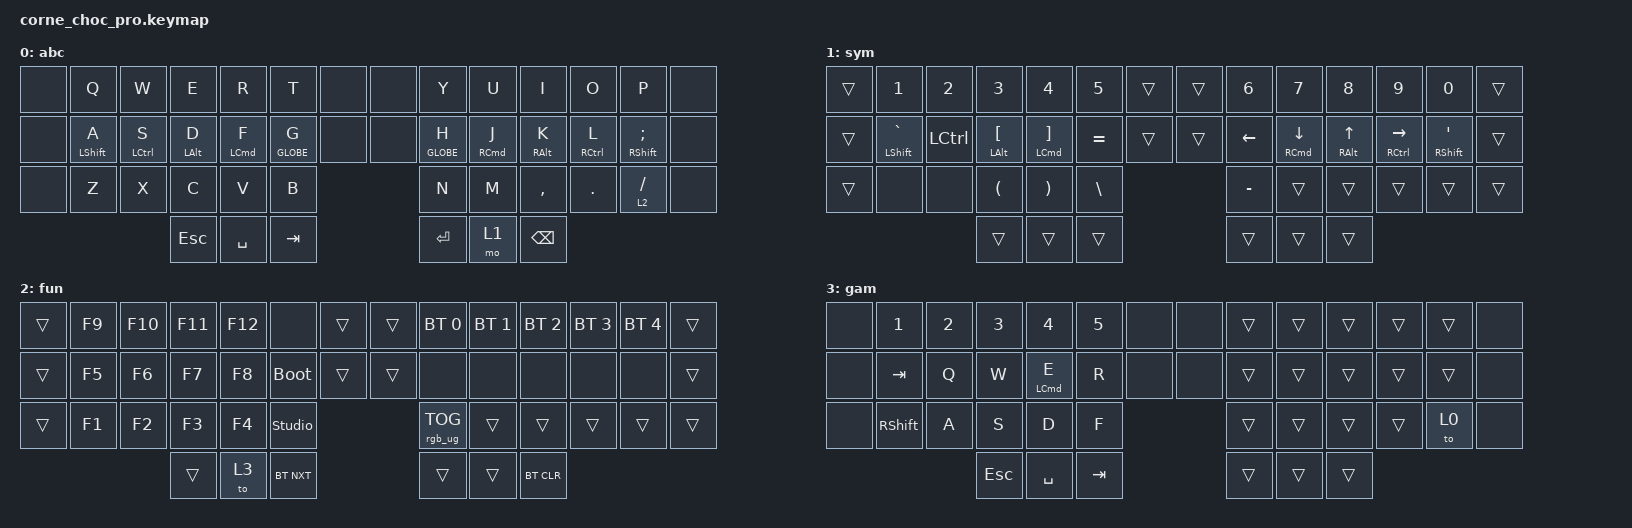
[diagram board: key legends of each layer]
/*
 * Copyright (c) 2020 The ZMK Contributors
 *
 * SPDX-License-Identifier: MIT
 */

/*
 * corne choc pro keymap — bdsqqq
 *
 * layout philosophy:
 * - homerow mods using urob's "timeless" approach to minimize misfires during fast typing
 * - layers accessed via thumbs (momentary) and pinky (hold-preferred for gaming layer)
 * - game layer customizes the left half while the right half inherits the base layer
 *
 * layer overview:
 *   0: base (abc)  — qwerty with homerow mods
 *   1: sym         — numbers, symbols, vim-style navigation with mods
 *   2: fun         — function keys, bluetooth, system controls
 *   3: game (gam)  — shifted WASD cluster, no homerow mods (except E for cmd+tab)
 */

#include <behaviors.dtsi>
#include <dt-bindings/zmk/bt.h>
#include <dt-bindings/zmk/keys.h>
#include <dt-bindings/zmk/rgb.h>

/ {
    chosen { zmk,physical-layout = &default_layout; };
};

/ {
    behaviors {
        /*
         * "timeless" homerow mods — based on urob's approach
         * https://github.com/urob/zmk-config?tab=readme-ov-file#timeless-homerow-mods
         *
         * the problem: homerow mods misfire during fast typing. if you type "as" quickly,
         * holding A (shift) while pressing S can produce "S" instead of "as".
         *
         * the solution combines three mechanisms:
         *   1. balanced flavor: releases tap on key-up OR when another key is pressed
         *   2. require-prior-idle-ms (150ms): ignores holds if you were recently typing
         *   3. positional hold-trigger: left mods only activate on RIGHT-hand key presses
         *
         * timing values (280ms tapping-term, 175ms quick-tap) are urob's defaults.
         * 150ms idle requirement is on the lower end — more aggressive anti-misfire.
         */

        // left-hand homerow mods: A=shift, S=ctrl, D=alt, F=cmd
        hml: home_row_mod_left {
            compatible = "zmk,behavior-hold-tap";
            label = "HOME_ROW_MOD_LEFT";
            #binding-cells = <2>;
            flavor = "balanced";
            tapping-term-ms = <280>;
            quick-tap-ms = <175>;
            require-prior-idle-ms = <150>;
            bindings = <&kp>, <&kp>;

            // only trigger hold when followed by right-hand keys or thumbs
            // indices: 8-12 (right top), 22-26 (right home), 34-38 (right bottom), 43-45 (right thumb)
            hold-trigger-key-positions = <8 9 10 11 12 22 23 24 25 26 34 35 36 37 38 43 44 45>;
            hold-trigger-on-release;
        };

        // right-hand homerow mods: J=cmd, K=alt, L=ctrl, ;=shift (mirrors left side)
        hmr: home_row_mod_right {
            compatible = "zmk,behavior-hold-tap";
            label = "HOME_ROW_MOD_RIGHT";
            #binding-cells = <2>;
            flavor = "balanced";
            tapping-term-ms = <280>;
            quick-tap-ms = <175>;
            require-prior-idle-ms = <150>;
            bindings = <&kp>, <&kp>;

            // only trigger hold when followed by left-hand keys or thumbs
            // indices: 1-5 (left top), 15-19 (left home), 29-33 (left bottom), 40-42 (left thumb)
            hold-trigger-key-positions = <1 2 3 4 5 15 16 17 18 19 29 30 31 32 33 40 41 42>;
            hold-trigger-on-release;
        };

        /*
         * hold-preferred layer-tap for accessing fun layer via /
         *
         * hold-preferred means: if ANY other key is pressed while holding, treat as hold.
         * this differs from balanced (waits to see if you release before the other key).
         *
         * used on / because:
         *   - / is rarely followed by another character in normal typing
         *   - quick access to fun layer (function keys, bluetooth) is more valuable
         *   - 200ms tapping-term is shorter than homerow mods — tapping / feels snappier
         */
        lt_hp: lt_hold_preferred {
            compatible = "zmk,behavior-hold-tap";
            label = "LT_HOLD_PREFERRED";
            #binding-cells = <2>;
            flavor = "hold-preferred";
            tapping-term-ms = <200>;
            bindings = <&mo>, <&kp>;
        };
    };

    keymap {
        compatible = "zmk,keymap";

        /*
         * layer 0: base (abc)
         *
         * standard qwerty with homerow mods on both sides.
         * outer columns (&none) are intentionally blank — corne layout doesn't use them.
         *
         * thumbs: ESC | SPACE | TAB ←→ RET | layer1 | BSPC
         *   - layer 1 (sym) via right thumb momentary
         *   - layer 2 (fun) via hold on / key (bottom right pinky)
         *
         * homerow mod positions (hold = modifier, tap = letter):
         *   left:  A=⇧  S=⌃  D=⌥  F=⌘
         *   right: J=⌘  K=⌥  L=⌃  ;=⇧
         */
        layer_base {
            display-name = "abc";

            // -----------------------------------------------------------------------------------------
            // |      |  Q  |  W  |  E  |  R  |  T  |      |      |  Y  |  U  |  I  |  O  |  P  |      |
            // |      | A/⇧ | S/⌃ | D/⌥ | F/⌘ | G/🌐 |      |      | H/🌐 | J/⌘ | K/⌥ | L/⌃ | ;/⇧ |      |
            // |      |  Z  |  X  |  C  |  V  |  B  |             |  N  |  M  |  ,  |  .  | //2 |      |
            //                    | ESC | SPC | TAB |             | RET | ≣1  | BSPC|

            bindings = <
&none  &kp Q              &kp W         &kp E            &kp R                &kp T    &none  &none  &kp Y    &kp U                 &kp I             &kp O                 &kp P                       &none
&none  &hml LEFT_SHIFT A  &hml LCTRL S  &hml LEFT_ALT D  &hml LEFT_COMMAND F  &hml GLOBE G  &none  &none  &hmr GLOBE H  &hmr RIGHT_COMMAND J  &hmr RIGHT_ALT K  &hmr RIGHT_CONTROL L  &hmr RIGHT_SHIFT SEMICOLON  &none
&none  &kp Z              &kp X         &kp C            &kp V                &kp B                  &kp N    &kp M                 &kp COMMA         &kp DOT               &lt_hp 2 FSLH               &none
                                        &kp ESCAPE       &kp SPACE            &kp TAB                &kp RET  &mo 1                 &kp BSPC
            >;
        };

        /*
         * layer 1: sym (symbols + navigation)
         *
         * accessed via right thumb (mo 1) from base layer.
         *
         * top row: number row 1-0
         * home row: symbols with homerow mods PLUS vim-style arrow keys (HJKL → ←↓↑→)
         *   - arrows have mods: ↓=⌘, ↑=⌥, →=⌃ — allows cmd+arrow, opt+arrow, etc.
         *   - `/⇧ and '/⇧ on pinkies for shifted access to these common symbols
         * bottom row: parens, brackets, backslash, minus
         *
         * design choice: brackets [] on home row (with mods), parens () on bottom row (no mods).
         * this prioritizes [] for code navigation while keeping () accessible.
         */
        layer_symnav {
            display-name = "sym";

            // -----------------------------------------------------------------------------------------
            // |      |  1  |  2  |  3  |  4  |  5  |      |      |  6  |  7  |  8  |  9  |  0  |      |
            // |      | `/⇧ | ⌃   | [/⌥ | ]/⌘ |  =  |      |      |  ←  | ↓/⌘ | ↑/⌥ | →/⌃ | '/⇧ |      |
            // |      |     |     |  (  |  )  |  \  |             |  -  |     |     |     |     |      |
            //                    |     |     |     |             |     |     |     |

            bindings = <
&trans  &kp N1                 &kp N2            &kp N3                      &kp N4                           &kp N5         &trans  &trans  &kp N6     &kp N7                   &kp N8                   &kp N9                          &kp N0                &trans
&trans  &hml LEFT_SHIFT GRAVE  &kp LEFT_CONTROL  &hml LEFT_ALT LEFT_BRACKET  &hml LEFT_COMMAND RIGHT_BRACKET  &kp EQUAL      &trans  &trans  &kp LEFT   &hmr RIGHT_COMMAND DOWN  &hmr RIGHT_ALT UP_ARROW  &hmr RIGHT_CONTROL RIGHT_ARROW  &hmr RIGHT_SHIFT SQT  &trans
&trans  &none                  &none             &kp LEFT_PARENTHESIS        &kp RIGHT_PARENTHESIS            &kp BACKSLASH                  &kp MINUS  &trans                   &trans                   &trans                          &trans                &trans
                                                 &trans                      &trans                           &trans                         &trans     &trans                   &trans
            >;
        };

        /*
         * layer 2: fun (function keys + system)
         *
         * accessed via hold on / from base layer (lt_hp 2 FSLH).
         *
         * left side: function keys in a 4x3 grid
         *   top:    F9  F10 F11 F12
         *   home:   F5  F6  F7  F8
         *   bottom: F1  F2  F3  F4
         *
         * right side: bluetooth profile selection (0-4) on top row
         *   - BT_SEL 0-4: switch between paired devices
         *   - BT_CLR on backspace position: /+⌫ = "delete" the pairing
         *   - BT_NXT on tab position: /+⇥ = "switch" profile, like browser tabs
         *
         * system controls:
         *   - bootloader on home row (G position): enter bootloader for flashing
         *   - studio_unlock on bottom row: unlock ZMK Studio for live configuration
         *   - RGB toggle on bottom right
         *
         * navigation to game layer:
         *   - `to 3` on left thumb (middle position): switch to gaming layer
         */
        layer_fun {
            display-name = "fun";

            // -----------------------------------------------------------------------------------------
            // |      | F9  | F10 | F11 | F12 |     |      |      | BT0 | BT1 | BT2 | BT3 | BT4 |      |
            // |      | F5  | F6  | F7  | F8  |BOOT |      |      |     |     |     |     |     |      |
            // |      | F1  | F2  | F3  | F4  | UNL |             | RGB |     |     |     |     |      |
            //                    |     | →G  | BT→ |             |     |     | BTC |

            bindings = <
&trans  &kp F9  &kp F10  &kp F11  &kp F12  &none           &trans  &trans  &bt BT_SEL 0     &bt BT_SEL 1  &bt BT_SEL 2  &bt BT_SEL 3  &bt BT_SEL 4  &trans
&trans  &kp F5  &kp F6   &kp F7   &kp F8   &bootloader     &trans  &trans  &none            &none         &none         &none         &none         &trans
&trans  &kp F1  &kp F2   &kp F3   &kp F4   &studio_unlock                  &rgb_ug RGB_TOG  &trans        &trans        &trans        &trans        &trans
                         &trans   &to 3    &bt BT_NXT                      &trans           &trans        &bt BT_CLR
            >;
        };

        /*
         * layer 3: game (gam)
         *
         * designed for wasd games where right hand is on mouse.
         *
         * problem this layer solves:
         *   - homerow mods on movement keys cause issues: holding to move triggers
         *     the modifier, then releasing causes inconsistent behavior. ends up
         *     requiring double-presses to avoid accidental mod activation.
         *   - standard corne has no dedicated shift key (it's on A via homerow mod)
         *
         * solution: shifted ESDF-style cluster
         *   - movement on QWES positions (shifted right from WASD)
         *   - gives extra keys to left of movement (A, Z)
         *   - dedicated SHIFT on pinky (where Z normally is)
         *   - TAB on ring finger home position
         *
         * layout:
         *   top:    1   2   3   4   5     ← direct number access
         *   home:  TAB  Q   W  E/⌘  R     ← W/Q/E/R are movement, E keeps cmd
         *   bottom: ⇧   A   S   D   F     ← shift on pinky, ASD available for binds
         *
         * E retains homerow mod (cmd) intentionally:
         *   - allows one-handed cmd+tab
         *   - timeless approach means quick E taps still register as E
         *   - E is typically "interact" — tapped, not held
         *
         * right half inherits the base layer:
         *   - keeps the full set of letters available for uncommon actions
         *   - preserves right-hand homerow mods, including J=cmd for cmd+tab
         *   - preserves the right thumb's sym-layer access
         *
         * exit: `to 0` on right pinky (where / normally is)
         *   - the only right-half override; all other usable positions are transparent
         *   - reachable when switching from mouse to keyboard
         *   - returns directly to base layer
         */
        layer_game {
            display-name = "gam";

            // -----------------------------------------------------------------------------------------
            // |      |  1  |  2  |  3  |  4  |  5  |      |      |  Y  |  U  |  I  |  O  |  P  |      |
            // |      | TAB |  Q  |  W  | E/⌘ |  R  |      |      | H/🌐 | J/⌘ | K/⌥ | L/⌃ | ;/⇧ |      |
            // |      |  ⇧  |  A  |  S  |  D  |  F  |             |  N  |  M  |  ,  |  .  | →0  |      |
            //                    | ESC | SPC | TAB |             | RET | SYM | BSPC |

            bindings = <
&none  &kp N1     &kp N2  &kp N3   &kp N4               &kp N5   &none  &none  &trans  &trans  &trans  &trans  &trans  &none
&none  &kp TAB    &kp Q   &kp W    &hml LEFT_COMMAND E  &kp R    &none  &none  &trans  &trans  &trans  &trans  &trans  &none
&none  &kp RSHFT  &kp A   &kp S    &kp D                &kp F                  &trans  &trans  &trans  &trans  &to 0   &none
                          &kp ESC  &kp SPACE            &kp TAB                &trans  &trans  &trans
            >;
        };
    };
};
